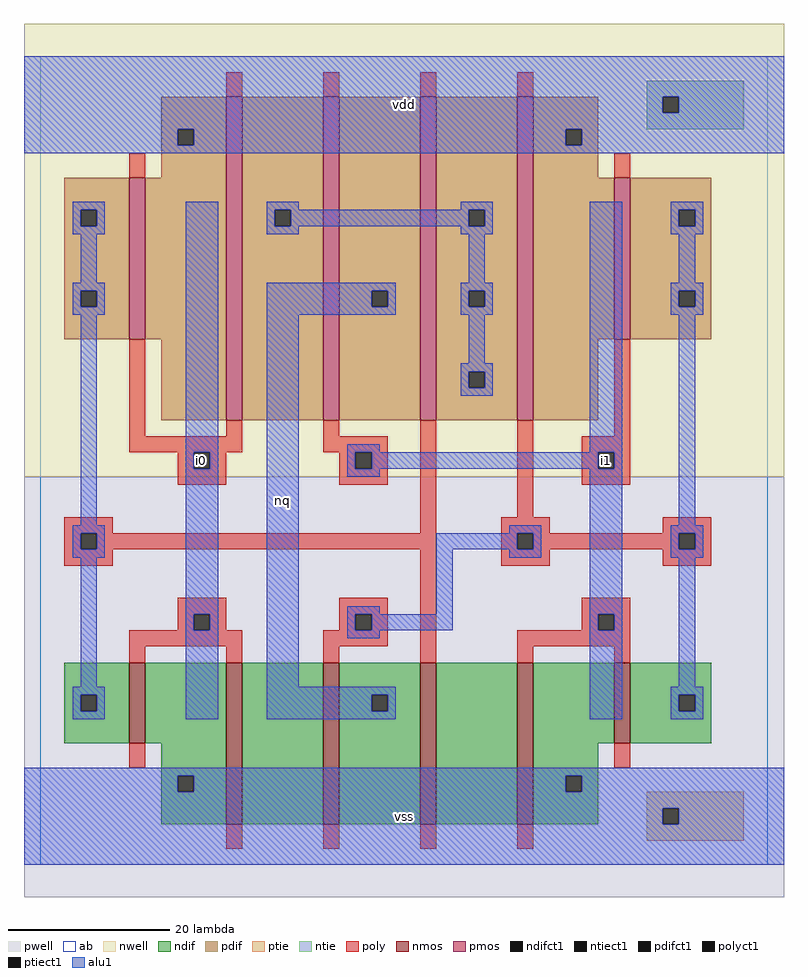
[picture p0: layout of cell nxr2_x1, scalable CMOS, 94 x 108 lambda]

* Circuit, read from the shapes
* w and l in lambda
.subckt nxr2_x1 i0 i1 nq vdd vss
M1 vss i0 n1 vss nfet w=10 l=2
M2 n2 i0 vss vss nfet w=20 l=2
M3 nq n3 n2 vss nfet w=20 l=2
M4 n4 n1 nq vss nfet w=20 l=2
M5 vss i1 n4 vss nfet w=20 l=2
M6 n3 i1 vss vss nfet w=10 l=2
M7 vdd i0 n1 vdd pfet w=20 l=2
M8 n5 i0 vdd vdd pfet w=40 l=2
M9 nq i1 n5 vdd pfet w=40 l=2
M10 n5 n1 nq vdd pfet w=40 l=2
M11 vdd n3 n5 vdd pfet w=40 l=2
M12 n3 i1 vdd vdd pfet w=20 l=2
.ends

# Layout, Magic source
magic
tech scmos
<< ab >>
rect 0 0 90 100
<< nwell >>
rect -2 48 92 104
<< pwell >>
rect -2 -4 92 48
<< poly >>
rect 23 95 25 98
rect 35 95 37 98
rect 47 95 49 98
rect 59 95 61 98
rect 11 85 13 88
rect 11 53 13 65
rect 71 85 73 88
rect 23 53 25 55
rect 11 51 25 53
rect 35 53 37 55
rect 35 51 43 53
rect 17 49 19 51
rect 21 49 23 51
rect 17 47 23 49
rect 37 49 39 51
rect 41 49 43 51
rect 37 47 43 49
rect 3 41 9 43
rect 47 41 49 55
rect 59 43 61 55
rect 71 53 73 65
rect 67 51 73 53
rect 67 49 69 51
rect 71 49 73 51
rect 67 47 73 49
rect 3 39 5 41
rect 7 39 49 41
rect 3 37 9 39
rect 17 31 23 33
rect 17 29 19 31
rect 21 29 23 31
rect 37 31 43 33
rect 37 29 39 31
rect 41 29 43 31
rect 11 27 25 29
rect 11 25 13 27
rect 23 25 25 27
rect 35 27 43 29
rect 35 25 37 27
rect 47 25 49 39
rect 57 41 63 43
rect 77 41 83 43
rect 57 39 59 41
rect 61 39 79 41
rect 81 39 83 41
rect 57 37 63 39
rect 77 37 83 39
rect 67 31 73 33
rect 67 29 69 31
rect 71 29 73 31
rect 59 27 73 29
rect 59 25 61 27
rect 71 25 73 27
rect 11 12 13 15
rect 71 12 73 15
rect 23 2 25 5
rect 35 2 37 5
rect 47 2 49 5
rect 59 2 61 5
<< ndif >>
rect 3 21 11 25
rect 3 19 5 21
rect 7 19 11 21
rect 3 15 11 19
rect 13 15 23 25
rect 15 11 23 15
rect 15 9 17 11
rect 19 9 23 11
rect 15 5 23 9
rect 25 5 35 25
rect 37 21 47 25
rect 37 19 41 21
rect 43 19 47 21
rect 37 5 47 19
rect 49 5 59 25
rect 61 15 71 25
rect 73 21 83 25
rect 73 19 79 21
rect 81 19 83 21
rect 73 15 83 19
rect 61 11 69 15
rect 61 9 65 11
rect 67 9 69 11
rect 61 5 69 9
<< pdif >>
rect 15 91 23 95
rect 15 89 17 91
rect 19 89 23 91
rect 15 85 23 89
rect 3 81 11 85
rect 3 79 5 81
rect 7 79 11 81
rect 3 71 11 79
rect 3 69 5 71
rect 7 69 11 71
rect 3 65 11 69
rect 13 65 23 85
rect 15 55 23 65
rect 25 81 35 95
rect 25 79 29 81
rect 31 79 35 81
rect 25 55 35 79
rect 37 71 47 95
rect 37 69 41 71
rect 43 69 47 71
rect 37 55 47 69
rect 49 81 59 95
rect 49 79 53 81
rect 55 79 59 81
rect 49 71 59 79
rect 49 69 53 71
rect 55 69 59 71
rect 49 61 59 69
rect 49 59 53 61
rect 55 59 59 61
rect 49 55 59 59
rect 61 91 69 95
rect 61 89 65 91
rect 67 89 69 91
rect 61 85 69 89
rect 61 65 71 85
rect 73 81 83 85
rect 73 79 79 81
rect 81 79 83 81
rect 73 71 83 79
rect 73 69 79 71
rect 81 69 83 71
rect 73 65 83 69
rect 61 55 69 65
<< alu1 >>
rect -2 95 92 100
rect -2 93 77 95
rect 79 93 92 95
rect -2 91 92 93
rect -2 89 17 91
rect 19 89 65 91
rect 67 89 92 91
rect -2 88 92 89
rect 4 81 8 82
rect 4 79 5 81
rect 7 79 8 81
rect 4 78 8 79
rect 5 72 7 78
rect 4 71 8 72
rect 4 69 5 71
rect 7 69 8 71
rect 4 68 8 69
rect 5 42 7 68
rect 18 51 22 82
rect 28 81 32 82
rect 52 81 56 82
rect 28 79 29 81
rect 31 79 53 81
rect 55 79 56 81
rect 28 78 32 79
rect 52 78 56 79
rect 53 72 55 78
rect 18 49 19 51
rect 21 49 22 51
rect 4 41 8 42
rect 4 39 5 41
rect 7 39 8 41
rect 4 38 8 39
rect 5 22 7 38
rect 18 31 22 49
rect 18 29 19 31
rect 21 29 22 31
rect 4 21 8 22
rect 4 19 5 21
rect 7 19 8 21
rect 4 18 8 19
rect 18 18 22 29
rect 28 71 44 72
rect 28 69 41 71
rect 43 69 44 71
rect 28 68 44 69
rect 52 71 56 72
rect 52 69 53 71
rect 55 69 56 71
rect 52 68 56 69
rect 28 22 32 68
rect 53 62 55 68
rect 52 61 56 62
rect 52 59 53 61
rect 55 59 56 61
rect 52 58 56 59
rect 38 51 42 52
rect 68 51 72 82
rect 78 81 82 82
rect 78 79 79 81
rect 81 79 82 81
rect 78 78 82 79
rect 79 72 81 78
rect 78 71 82 72
rect 78 69 79 71
rect 81 69 82 71
rect 78 68 82 69
rect 38 49 39 51
rect 41 49 69 51
rect 71 49 72 51
rect 38 48 42 49
rect 58 41 62 42
rect 49 39 59 41
rect 61 39 62 41
rect 38 31 42 32
rect 49 31 51 39
rect 58 38 62 39
rect 38 29 39 31
rect 41 29 51 31
rect 68 31 72 49
rect 79 42 81 68
rect 78 41 82 42
rect 78 39 79 41
rect 81 39 82 41
rect 78 38 82 39
rect 68 29 69 31
rect 71 29 72 31
rect 38 28 42 29
rect 28 21 44 22
rect 28 19 41 21
rect 43 19 44 21
rect 28 18 44 19
rect 68 18 72 29
rect 79 22 81 38
rect 78 21 82 22
rect 78 19 79 21
rect 81 19 82 21
rect 78 18 82 19
rect -2 11 92 12
rect -2 9 17 11
rect 19 9 65 11
rect 67 9 92 11
rect -2 7 92 9
rect -2 5 77 7
rect 79 5 92 7
rect -2 0 92 5
<< ptie >>
rect 75 7 87 9
rect 75 5 77 7
rect 79 5 87 7
rect 75 3 87 5
<< ntie >>
rect 75 95 87 97
rect 75 93 77 95
rect 79 93 87 95
rect 75 91 87 93
<< nmos >>
rect 11 15 13 25
rect 23 5 25 25
rect 35 5 37 25
rect 47 5 49 25
rect 59 5 61 25
rect 71 15 73 25
<< pmos >>
rect 11 65 13 85
rect 23 55 25 95
rect 35 55 37 95
rect 47 55 49 95
rect 59 55 61 95
rect 71 65 73 85
<< polyct1 >>
rect 19 49 21 51
rect 39 49 41 51
rect 69 49 71 51
rect 5 39 7 41
rect 19 29 21 31
rect 39 29 41 31
rect 59 39 61 41
rect 79 39 81 41
rect 69 29 71 31
<< ndifct1 >>
rect 5 19 7 21
rect 17 9 19 11
rect 41 19 43 21
rect 79 19 81 21
rect 65 9 67 11
<< ntiect1 >>
rect 77 93 79 95
<< ptiect1 >>
rect 77 5 79 7
<< pdifct1 >>
rect 17 89 19 91
rect 5 79 7 81
rect 5 69 7 71
rect 29 79 31 81
rect 41 69 43 71
rect 53 79 55 81
rect 53 69 55 71
rect 53 59 55 61
rect 65 89 67 91
rect 79 79 81 81
rect 79 69 81 71
<< labels >>
rlabel alu1 30 45 30 45 6 nq
rlabel polyct1 20 50 20 50 6 i0
rlabel alu1 45 6 45 6 6 vss
rlabel alu1 45 94 45 94 6 vdd
rlabel polyct1 70 50 70 50 6 i1
<< end >>
